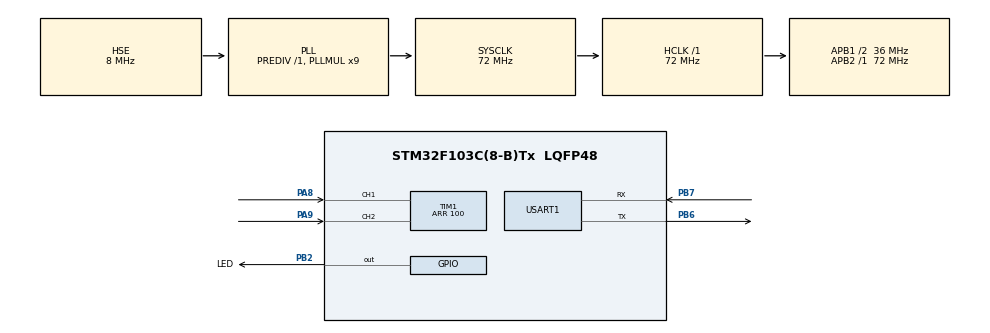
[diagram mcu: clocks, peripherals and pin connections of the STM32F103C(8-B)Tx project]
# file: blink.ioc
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Dma.Request0=USART1_RX
Dma.Request1=USART1_TX
Dma.USART1_RX.0.Direction=DMA_PERIPH_TO_MEMORY
Dma.USART1_RX.0.Instance=DMA1_Channel5
Dma.USART1_RX.0.MemDataAlignment=DMA_MDATAALIGN_BYTE
Dma.USART1_RX.0.MemInc=DMA_MINC_ENABLE
Dma.USART1_RX.0.Mode=DMA_NORMAL
Dma.USART1_RX.0.PeriphDataAlignment=DMA_PDATAALIGN_BYTE
Dma.USART1_RX.0.PeriphInc=DMA_PINC_DISABLE
Dma.USART1_RX.0.Priority=DMA_PRIORITY_LOW
Dma.USART1_TX.1.Direction=DMA_MEMORY_TO_PERIPH
Dma.USART1_TX.1.Instance=DMA1_Channel4
Dma.USART1_TX.1.MemDataAlignment=DMA_MDATAALIGN_BYTE
Dma.USART1_TX.1.MemInc=DMA_MINC_ENABLE
Dma.USART1_TX.1.Mode=DMA_NORMAL
Dma.USART1_TX.1.PeriphDataAlignment=DMA_PDATAALIGN_BYTE
Dma.USART1_TX.1.PeriphInc=DMA_PINC_DISABLE
Dma.USART1_TX.1.Priority=DMA_PRIORITY_LOW
Mcu.Family=STM32F1
Mcu.Name=STM32F103C(8-B)Tx
Mcu.Package=LQFP48
NVIC.DMA1_Channel4_IRQn=true\:0\:0\:false\:false\:true\:false\:true\:true
NVIC.DMA1_Channel5_IRQn=true\:0\:0\:false\:false\:true\:false\:true\:true
NVIC.PriorityGroup=NVIC_PRIORITYGROUP_4
NVIC.USART1_IRQn=true\:0\:0\:false\:false\:true\:true\:true\:true
PA13.Mode=Serial_Wire
PA13.Signal=SYS_JTMS-SWDIO
PA14.Mode=Serial_Wire
PA14.Signal=SYS_JTCK-SWCLK
PA8.Signal=S_TIM1_CH1
PA9.Signal=S_TIM1_CH2
PB2.GPIO_Label=LED
PB2.Signal=GPIO_Output
PB6.Mode=Asynchronous
PB6.Signal=USART1_TX
PB7.Mode=Asynchronous
PB7.Signal=USART1_RX
PD0-OSC_IN.Mode=HSE-External-Oscillator
PD0-OSC_IN.Signal=RCC_OSC_IN
PD1-OSC_OUT.Mode=HSE-External-Oscillator
PD1-OSC_OUT.Signal=RCC_OSC_OUT
ProjectManager.HeapSize=0x200
ProjectManager.StackSize=0x400
ProjectManager.TargetToolchain=STM32CubeIDE
RCC.AHBFreq_Value=72000000
RCC.APB1CLKDivider=RCC_HCLK_DIV2
RCC.APB1Freq_Value=36000000
RCC.APB1TimFreq_Value=72000000
RCC.APB2Freq_Value=72000000
RCC.APB2TimFreq_Value=72000000
RCC.HCLKFreq_Value=72000000
RCC.PLLMUL=RCC_PLL_MUL9
RCC.PLLSourceVirtual=RCC_PLLSOURCE_HSE
RCC.SYSCLKFreq_VALUE=72000000
RCC.SYSCLKSource=RCC_SYSCLKSOURCE_PLLCLK
RCC.USBFreq_Value=72000000
SH.S_TIM1_CH1.0=TIM1_CH1,Encoder_Interface
SH.S_TIM1_CH2.0=TIM1_CH2,Encoder_Interface
TIM1.Period=100
USART1.VirtualMode=VM_ASYNC
board=custom

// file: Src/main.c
/* USER CODE BEGIN Header */
/**
 ******************************************************************************
 * @file           : main.c
 * @brief          : Main program body
 ******************************************************************************
 * @attention
 *
 * Copyright (c) 2023 STMicroelectronics.
 * All rights reserved.
 *
 * This software is licensed under terms that can be found in the LICENSE file
 * in the root directory of this software component.
 * If no LICENSE file comes with this software, it is provided AS-IS.
 *
 ******************************************************************************
 */
/* USER CODE END Header */
#include "main.h"
#include "dma.h"
#include "gpio.h"
#include "tim.h"
#include "usart.h"

/* USER CODE BEGIN Includes */
#include "stdio.h"
#include "stdlib.h"
/* USER CODE END Includes */

/* USER CODE BEGIN PD */
int last = 0;
int GetData = 0; //编码器数值
int count = 0;
/* USER CODE END PD */

void SystemClock_Config(void);

int main(void)
{

    /* MCU Configuration--------------------------------------------------------*/

    /* Reset of all peripherals, Initializes the Flash interface and the Systick. */
    HAL_Init();

    /* Configure the system clock */
    SystemClock_Config();

    /* Initialize all configured peripherals */
    MX_GPIO_Init();
    MX_DMA_Init();
    MX_USART1_UART_Init();
    MX_TIM1_Init();
    HAL_TIM_Encoder_Start(&htim1, TIM_CHANNEL_ALL);
    /* USER CODE BEGIN 2 */
    HAL_GPIO_WritePin(LED_GPIO_Port, LED_Pin, GPIO_PIN_SET);
    /* USER CODE END 2 */

    /* Infinite loop */
    /* USER CODE BEGIN WHILE */
    while (1) {
        GetData = __HAL_TIM_GET_COUNTER(&htim1); // 0位正，1为负
        if (GetData == last) {
            continue;
        }
        last = GetData;
        int Direction; //编码器方向
        Direction = __HAL_TIM_IS_TIM_COUNTING_DOWN(&htim1); // 是否向下计数

        if (Direction == 1 && count < 100) {
            count++;
        } else if (Direction == 0 && count > 0) {
            count--;
        }

        char DATA[10];
        int size = sprintf(DATA, "%d\n", count);
        HAL_UART_Transmit_IT(&huart1, (uint8_t*)DATA, size);
        /* USER CODE END WHILE */

    }
}

void SystemClock_Config(void)
{
    RCC_OscInitTypeDef RCC_OscInitStruct = { 0 };
    RCC_ClkInitTypeDef RCC_ClkInitStruct = { 0 };

    /** Initializes the RCC Oscillators according to the specified parameters
     * in the RCC_OscInitTypeDef structure.
     */
    RCC_OscInitStruct.OscillatorType = RCC_OSCILLATORTYPE_HSE;
    RCC_OscInitStruct.HSEState = RCC_HSE_ON;
    RCC_OscInitStruct.HSEPredivValue = RCC_HSE_PREDIV_DIV1;
    RCC_OscInitStruct.HSIState = RCC_HSI_ON;
    RCC_OscInitStruct.PLL.PLLState = RCC_PLL_ON;
    RCC_OscInitStruct.PLL.PLLSource = RCC_PLLSOURCE_HSE;
    RCC_OscInitStruct.PLL.PLLMUL = RCC_PLL_MUL9;
    if (HAL_RCC_OscConfig(&RCC_OscInitStruct) != HAL_OK) {
        Error_Handler();
    }

    /** Initializes the CPU, AHB and APB buses clocks
     */
    RCC_ClkInitStruct.ClockType = RCC_CLOCKTYPE_HCLK | RCC_CLOCKTYPE_SYSCLK
        | RCC_CLOCKTYPE_PCLK1 | RCC_CLOCKTYPE_PCLK2;
    RCC_ClkInitStruct.SYSCLKSource = RCC_SYSCLKSOURCE_PLLCLK;
    RCC_ClkInitStruct.AHBCLKDivider = RCC_SYSCLK_DIV1;
    RCC_ClkInitStruct.APB1CLKDivider = RCC_HCLK_DIV2;
    RCC_ClkInitStruct.APB2CLKDivider = RCC_HCLK_DIV1;

    if (HAL_RCC_ClockConfig(&RCC_ClkInitStruct, FLASH_LATENCY_2) != HAL_OK) {
        Error_Handler();
    }
}

void Error_Handler(void)
{
    __disable_irq();
    while (1) {
    }
}
